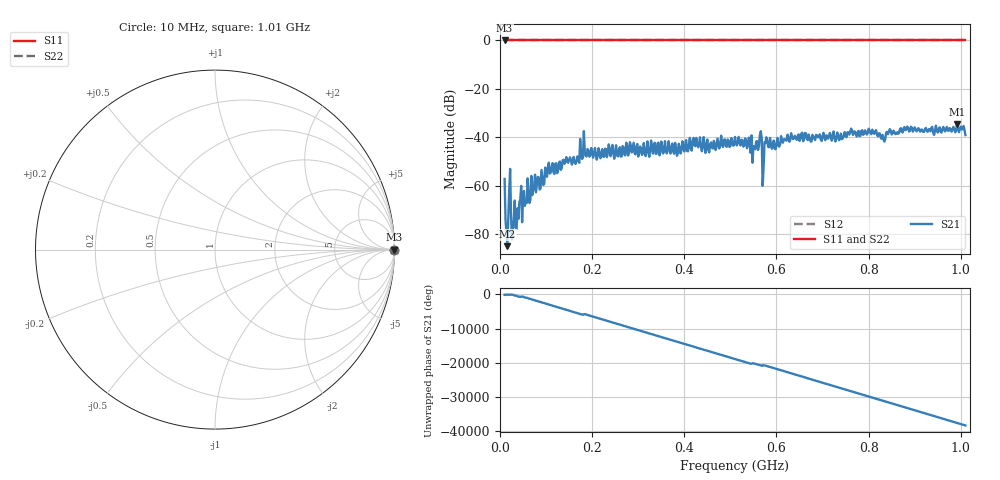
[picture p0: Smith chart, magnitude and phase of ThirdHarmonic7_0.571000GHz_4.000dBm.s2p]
! 8/17/2025 5:37:59 PM
! C:\ANRITSUVNA\TEMP\TEMP.S2P
! CHANNEL.1
! TR.MEASUREMENT
! RAW.DATA
! RF.CORRECTION.OFF
! AVERAGING.OFF
! IF.BANDWIDTH: 5KHZ
! SWEEPTYPE:  FREQ.SWEEP(Linear)
! Reference Plane Port Info
! PORT:  PORT1  PORT2
! DISTANCE:  0  m  0  m
! TIME:  0  s  0  s
! PHASE.OFFSET:  0  deg.  0  deg.
! LOSS:  0  dB  0  dB
! REF.LOSS:  0  dB  0  dB
! REF.FREQ:  0  Hz  0  Hz
! Power Info
! POWER:  -20  dBm  -20  dBm
! EFF.POWER:  -20  dBm  -20  dBm
! SOURCE.ATTEN:  0  dB  0  dB
! TEST.ATTEN:  0  dB  0  dB
# GHZ S RI R 50.0
! FREQ.GHZ  S11RE  S11IM  S21RE  S21IM  S12RE  S12IM  S22RE  S22IM
!; PortSelection: Port_12
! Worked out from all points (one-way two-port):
!   501 points, 10 MHz to 1.01 GHz, reference 50 ohm
!   highest |S21| = -34.68 dB at 992 MHz (marker M1); lowest = -85.0 dB at 16 MHz (marker M2)
!   lowest |S11| = 0.0 dB at 10 MHz (marker M3)
!   |S11| at or under -10 dB: nowhere
!   |S22| runs from 0.0 to 0.0 dB; largest |S21 - S12| = 1
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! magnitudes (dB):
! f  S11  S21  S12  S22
! 10 MHz  0.0  -57.2  0.0  0.0
! 16 MHz  0.0  -85.0  0.0  0.0
! 20 MHz  0.0  -62.0  0.0  0.0
! 30 MHz  0.0  -73.8  0.0  0.0
! 38 MHz  0.0  -69.4  0.0  0.0
! 42 MHz  0.0  -66.7  0.0  0.0
! 102 MHz  0.0  -56.3  0.0  0.0
! 168 MHz  0.0  -47.9  0.0  0.0
! 178 MHz  0.0  -49.0  0.0  0.0
! 214 MHz  0.0  -44.5  0.0  0.0
! 344 MHz  0.0  -42.2  0.0  0.0
! 510 MHz  0.0  -39.9  0.0  0.0
! 552 MHz  0.0  -44.2  0.0  0.0
! 564 MHz  0.0  -39.2  0.0  0.0
! 572 MHz  0.0  -52.6  0.0  0.0
! 578 MHz  0.0  -40.0  0.0  0.0
! 678 MHz  0.0  -39.0  0.0  0.0
! 804 MHz  0.0  -38.3  0.0  0.0
! 832 MHz  0.0  -40.5  0.0  0.0
! 844 MHz  0.0  -37.6  0.0  0.0
! 992 MHz  0.0  -34.7  0.0  0.0
! 1.01 GHz  0.0  -39.1  0.0  0.0
